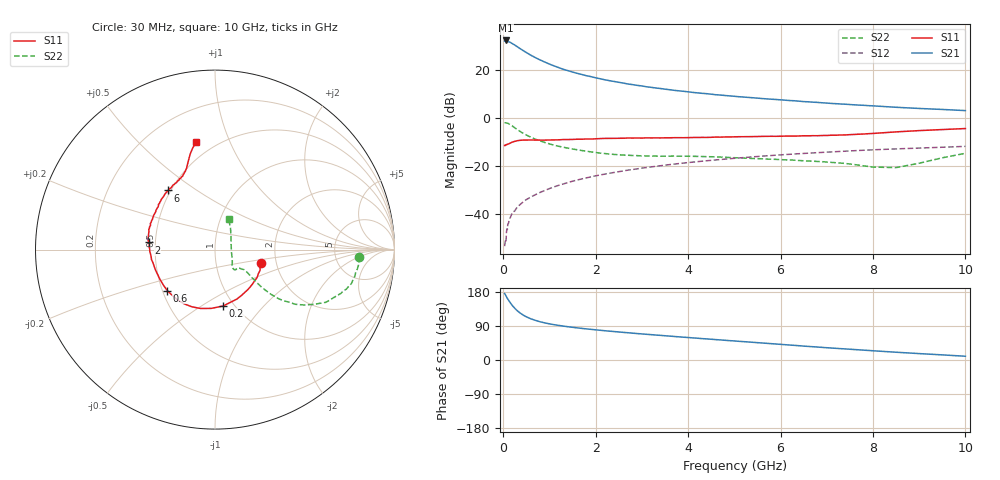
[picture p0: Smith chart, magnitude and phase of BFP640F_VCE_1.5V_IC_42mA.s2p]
! Infineon Technologies  Discrete & RF Semiconductors
! BFP640F
! VCE =  1.5 V,  IC =  42 mA
! Common Emitter S-Parameters:  Apr 2013
# GHz  S  MA  R  50
!  f  S11  S21  S12  S22
! GHz  MAG  ANG  MAG  ANG  MAG  ANG  MAG  ANG
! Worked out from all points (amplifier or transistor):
!   99 points, 30 MHz to 10 GHz, reference 50 ohm
!   highest |S21| = 32.6 dB at 50 MHz (marker M1)
!   |S21| within 3 dB of that: start of sweep to 333 MHz
!   unconditionally stable (mu >= 1): start of sweep to 72.75 MHz; 978.3 MHz to end of sweep
!   at 350 MHz: K = 0.75, MSG = 32.8 dB, |S12| = -36.4 dB
!   at 3.5 GHz: K = 1.13, MAG = 13.7 dB, |S12| = -19.7 dB
!   at 10 GHz: K = 1.08, MAG = 5.7 dB, |S12| = -11.8 dB
!   S11 on the Smith chart (normalised r, x): 30 MHz: 1.67, -0.26; 200 MHz: 0.89, -0.62; 600 MHz: 0.53, -0.28; 2 GHz: 0.46, +0.04; 6 GHz: 0.49, +0.39; 10 GHz: 0.40, +0.76
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0.03  0.2684 -15.6  41.23 175.3  0.0021 60.8  0.8039 -2.8
0.05  0.2764 -24.6  42.41 171.5  0.0028 72.1  0.8042 -6.1
0.07  0.2815 -33.5  42.3 166.9  0.0041 65.6  0.7941 -9.2
0.11  0.2889 -51.4  40.4 158.7  0.0062 72.5  0.7725 -15.4
0.15  0.3013 -66.1  38.83 151.6  0.0082 71.6  0.7301 -20.3
0.2  0.3174 -81.7  36.28 143.2  0.0107 69.9  0.6844 -25.4
0.25  0.3283 -93.7  34 136.5  0.0115 69.6  0.6291 -29.0
0.3  0.3378 -103.9  31.57 130.4  0.0137 66.6  0.584 -31.9
0.4  0.3474 -119.5  27.25 121.1  0.0167 67.3  0.5026 -35.5
0.5  0.349 -130.4  23.7 114.0  0.0198 67.3  0.4461 -37.7
0.6  0.3506 -139.3  20.77 108.6  0.0225 68.1  0.3997 -38.6
0.8  0.3484 -151.5  16.55 100.8  0.0281 69.0  0.336 -38.9
1  0.3503 -160.7  13.59 95.4  0.0337 69.2  0.2907 -38.2
1.3  0.3581 -171.0  10.57 89.5  0.0421 69.3  0.2474 -36.6
1.7  0.3639 179.6  8.231 83.4  0.0537 68.8  0.2107 -34.8
2  0.371 173.8  7.019 79.6  0.0623 67.8  0.1921 -35.1
3.4  0.387 154.3  4.188 65.0  0.1012 61.5  0.1601 -42.1
5.1  0.4101 136.6  2.818 49.3  0.1474 51.8  0.1484 -46.5
6  0.4197 128.3  2.427 41.3  0.171 46.4  0.1362 -44.9
6.7  0.4311 120.9  2.167 35.0  0.1879 41.9  0.1261 -41.1
8.5  0.5179 106.6  1.695 20.5  0.2281 30.9  0.0925 13.6
10  0.6078 100.0  1.444 9.9  0.2574 22.5  0.1844 65.6
